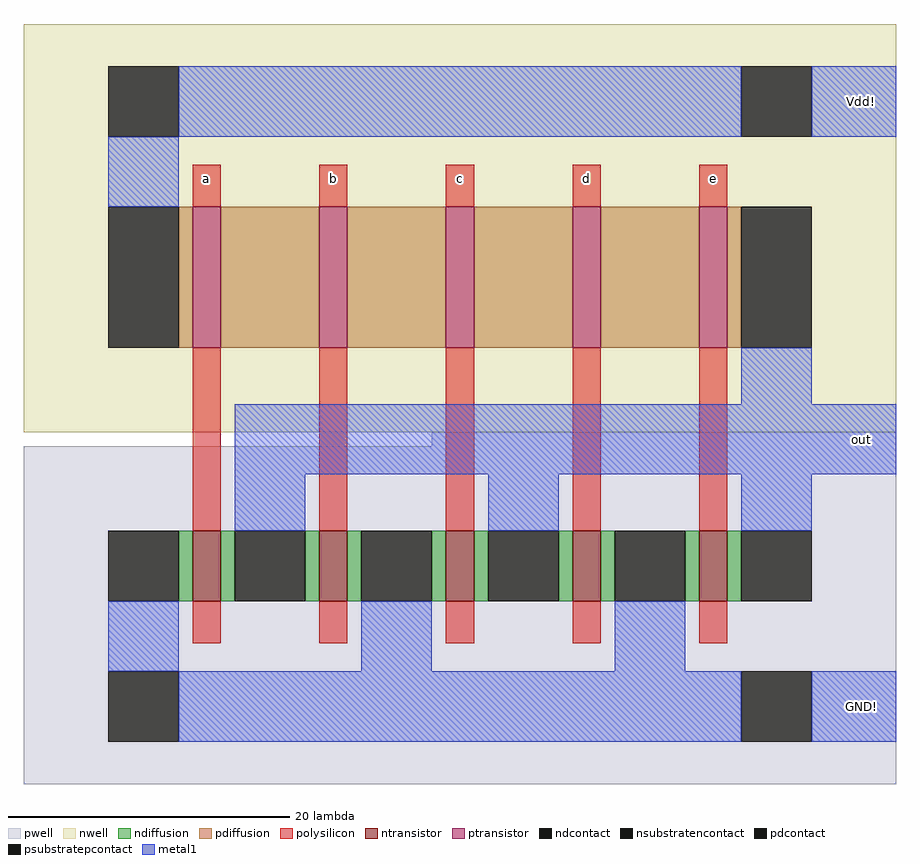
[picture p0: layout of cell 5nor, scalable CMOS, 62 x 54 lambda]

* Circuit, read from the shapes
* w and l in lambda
.subckt 5nor GND! Vdd! a b c d e out
M1 out a GND! GND! nfet w=5 l=2
M2 GND! b out GND! nfet w=5 l=2
M3 out c GND! GND! nfet w=5 l=2
M4 GND! d out GND! nfet w=5 l=2
M5 out e GND! GND! nfet w=5 l=2
M6 n1 a Vdd! Vdd! pfet w=10 l=2
M7 n2 b n1 Vdd! pfet w=10 l=2
M8 n3 c n2 Vdd! pfet w=10 l=2
M9 n4 d n3 Vdd! pfet w=10 l=2
M10 out e n4 Vdd! pfet w=10 l=2
.ends

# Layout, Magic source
magic
tech scmos
<< nwell >>
rect 72 18 134 47
<< pwell >>
rect 101 17 134 18
rect 72 -7 134 17
<< ntransistor >>
rect 84 6 86 11
rect 93 6 95 11
rect 102 6 104 11
rect 111 6 113 11
rect 120 6 122 11
<< ptransistor >>
rect 84 24 86 34
rect 93 24 95 34
rect 102 24 104 34
rect 111 24 113 34
rect 120 24 122 34
<< ndiffusion >>
rect 83 6 84 11
rect 86 6 87 11
rect 92 6 93 11
rect 95 6 96 11
rect 101 6 102 11
rect 104 6 105 11
rect 110 6 111 11
rect 113 6 114 11
rect 119 6 120 11
rect 122 6 123 11
<< pdiffusion >>
rect 83 24 84 34
rect 86 24 93 34
rect 95 24 102 34
rect 104 24 111 34
rect 113 24 120 34
rect 122 24 123 34
<< ndcontact >>
rect 78 6 83 11
rect 87 6 92 11
rect 96 6 101 11
rect 105 6 110 11
rect 114 6 119 11
rect 123 6 128 11
<< pdcontact >>
rect 78 24 83 34
rect 123 24 128 34
<< psubstratepcontact >>
rect 78 -4 83 1
rect 123 -4 128 1
<< nsubstratencontact >>
rect 78 39 83 44
rect 123 39 128 44
<< polysilicon >>
rect 84 34 86 37
rect 93 34 95 37
rect 102 34 104 37
rect 111 34 113 37
rect 120 34 122 37
rect 84 11 86 24
rect 93 11 95 24
rect 102 11 104 24
rect 111 11 113 24
rect 120 11 122 24
rect 84 3 86 6
rect 93 3 95 6
rect 102 3 104 6
rect 111 3 113 6
rect 120 3 122 6
<< metal1 >>
rect 83 39 123 44
rect 128 39 134 44
rect 78 34 83 39
rect 123 20 128 24
rect 87 15 134 20
rect 87 11 92 15
rect 105 11 110 15
rect 123 11 128 15
rect 78 1 83 6
rect 96 1 101 6
rect 114 1 119 6
rect 83 -4 123 1
rect 128 -4 134 1
<< labels >>
rlabel polysilicon 84 35 86 37 1 a
rlabel polysilicon 93 35 95 37 1 b
rlabel polysilicon 102 35 104 37 1 c
rlabel metal1 129 -4 134 1 7 GND!
rlabel polysilicon 111 35 113 37 1 d
rlabel polysilicon 120 35 122 37 1 e
rlabel metal1 129 39 134 44 7 Vdd!
rlabel metal1 129 15 134 20 7 out
<< end >>
